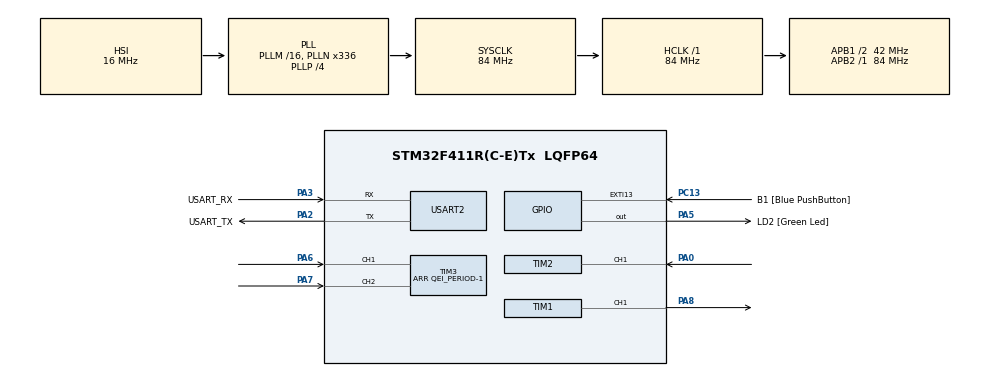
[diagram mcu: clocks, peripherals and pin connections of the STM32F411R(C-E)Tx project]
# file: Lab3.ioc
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Dma.Request0=TIM2_CH1
Dma.TIM2_CH1.0.Direction=DMA_PERIPH_TO_MEMORY
Dma.TIM2_CH1.0.FIFOMode=DMA_FIFOMODE_DISABLE
Dma.TIM2_CH1.0.Instance=DMA1_Stream5
Dma.TIM2_CH1.0.MemDataAlignment=DMA_MDATAALIGN_WORD
Dma.TIM2_CH1.0.MemInc=DMA_MINC_ENABLE
Dma.TIM2_CH1.0.Mode=DMA_CIRCULAR
Dma.TIM2_CH1.0.PeriphDataAlignment=DMA_PDATAALIGN_WORD
Dma.TIM2_CH1.0.PeriphInc=DMA_PINC_DISABLE
Dma.TIM2_CH1.0.Priority=DMA_PRIORITY_LOW
Mcu.Family=STM32F4
Mcu.Name=STM32F411R(C-E)Tx
Mcu.Package=LQFP64
Mcu.UserConstants=QEI_PERIOD,64512
NVIC.DMA1_Stream5_IRQn=true\:0\:0\:false\:false\:true\:false\:true\:true
NVIC.PriorityGroup=NVIC_PRIORITYGROUP_0
NVIC.TIM5_IRQn=true\:0\:0\:false\:false\:true\:true\:true\:true
PA0-WKUP.Signal=S_TIM2_CH1_ETR
PA13.GPIO_Label=TMS
PA13.Mode=Serial_Wire
PA13.Signal=SYS_JTMS-SWDIO
PA14.GPIO_Label=TCK
PA14.Mode=Serial_Wire
PA14.Signal=SYS_JTCK-SWCLK
PA2.GPIO_Label=USART_TX
PA2.Mode=Asynchronous
PA2.Signal=USART2_TX
PA3.GPIO_Label=USART_RX
PA3.Mode=Asynchronous
PA3.Signal=USART2_RX
PA5.GPIO_Label=LD2 [Green Led]
PA5.Signal=GPIO_Output
PA6.Signal=S_TIM3_CH1
PA7.Signal=S_TIM3_CH2
PA8.Signal=S_TIM1_CH1
PB3.GPIO_Label=SWO
PB3.Signal=SYS_JTDO-SWO
PC13-ANTI_TAMP.GPIO_Label=B1 [Blue PushButton]
PC13-ANTI_TAMP.GPIO_ModeDefaultEXTI=GPIO_MODE_IT_FALLING
PC13-ANTI_TAMP.Signal=GPXTI13
PC14-OSC32_IN.Mode=LSE-External-Oscillator
PC14-OSC32_IN.Signal=RCC_OSC32_IN
PC15-OSC32_OUT.Mode=LSE-External-Oscillator
PC15-OSC32_OUT.Signal=RCC_OSC32_OUT
PH0\ -\ OSC_IN.Mode=HSE-External-Clock-Source
PH0\ -\ OSC_IN.Signal=RCC_OSC_IN
PH1\ -\ OSC_OUT.Mode=HSE-External-Clock-Source
PH1\ -\ OSC_OUT.Signal=RCC_OSC_OUT
ProjectManager.HeapSize=0x200
ProjectManager.StackSize=0x400
ProjectManager.TargetToolchain=STM32CubeIDE
RCC.48MHZClocksFreq_Value=84000000
RCC.AHBFreq_Value=84000000
RCC.APB1CLKDivider=RCC_HCLK_DIV2
RCC.APB1Freq_Value=42000000
RCC.APB1TimFreq_Value=84000000
RCC.APB2Freq_Value=84000000
RCC.APB2TimFreq_Value=84000000
RCC.CortexFreq_Value=84000000
RCC.FLatency-AdvancedSettings=FLASH_LATENCY_2
RCC.HCLKFreq_Value=84000000
RCC.HSE_VALUE=8000000
RCC.HSI_VALUE=16000000
RCC.PLLN=336
RCC.PLLP=RCC_PLLP_DIV4
RCC.SYSCLKFreq_VALUE=84000000
RCC.SYSCLKSource=RCC_SYSCLKSOURCE_PLLCLK
RCC.VCOOutputFreq_Value=336000000
SH.S_TIM1_CH1.0=TIM1_CH1,PWM Generation1 CH1
SH.S_TIM2_CH1_ETR.0=TIM2_CH1,Input_Capture1_from_TI1
SH.S_TIM3_CH1.0=TIM3_CH1,Encoder_Interface
SH.S_TIM3_CH2.0=TIM3_CH2,Encoder_Interface
TIM1.Channel-PWM\ Generation1\ CH1=TIM_CHANNEL_1
TIM1.Period=2500
TIM1.Prescaler=83
TIM1.Pulse-PWM\ Generation1\ CH1=500
TIM2.Channel-Input_Capture1_from_TI1=TIM_CHANNEL_1
TIM2.Prescaler=83
TIM3.EncoderMode=TIM_ENCODERMODE_TI12
TIM3.Period=QEI_PERIOD-1
TIM5.Prescaler=83
USART2.VirtualMode=VM_ASYNC
VP_TIM1_VS_ClockSourceINT.Mode=Internal
VP_TIM2_VS_ClockSourceINT.Mode=Internal
VP_TIM5_VS_ClockSourceINT.Mode=Internal
board=NUCLEO-F411RE

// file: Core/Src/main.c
/* USER CODE BEGIN Header */
/**
  ******************************************************************************
  * @file           : main.c
  * @brief          : Main program body
  ******************************************************************************
  * @attention
  *
  * Copyright (c) 2023 STMicroelectronics.
  * All rights reserved.
  *
  * This software is licensed under terms that can be found in the LICENSE file
  * in the root directory of this software component.
  * If no LICENSE file comes with this software, it is provided AS-IS.
  *
  ******************************************************************************
  */
/* USER CODE END Header */
#include "main.h"

/* USER CODE BEGIN Includes */
#define IC_BUFFER_SIZE 20
/* USER CODE END Includes */

TIM_HandleTypeDef htim1;
TIM_HandleTypeDef htim2;
TIM_HandleTypeDef htim3;
TIM_HandleTypeDef htim5;
DMA_HandleTypeDef hdma_tim2_ch1;

UART_HandleTypeDef huart2;

/* USER CODE BEGIN PV */
uint32_t InputCaptureBuffer[IC_BUFFER_SIZE];
float averageRisingedgePeriod;
uint32_t MotorSetDuty = 100;
uint32_t duty = 0;
uint32_t MotorReadRPM;
/* USER CODE END PV */

void SystemClock_Config(void);
static void MX_GPIO_Init(void);
static void MX_DMA_Init(void);
static void MX_USART2_UART_Init(void);
static void MX_TIM2_Init(void);
static void MX_TIM1_Init(void);
static void MX_TIM3_Init(void);
static void MX_TIM5_Init(void);
/* USER CODE BEGIN PFP */
float IC_Calc_Period();
/* USER CODE END PFP */

int main(void)
{

  /* MCU Configuration--------------------------------------------------------*/

  /* Reset of all peripherals, Initializes the Flash interface and the Systick. */
  HAL_Init();

  /* Configure the system clock */
  SystemClock_Config();

  /* Initialize all configured peripherals */
  MX_GPIO_Init();
  MX_DMA_Init();
  MX_USART2_UART_Init();
  MX_TIM2_Init();
  MX_TIM1_Init();
  MX_TIM3_Init();
  MX_TIM5_Init();
  /* USER CODE BEGIN 2 */

  HAL_TIM_Base_Start(&htim2);
  HAL_TIM_IC_Start_DMA(&htim2, TIM_CHANNEL_1, InputCaptureBuffer, IC_BUFFER_SIZE);

  HAL_TIM_Base_Start(&htim1);
  HAL_TIM_PWM_Start(&htim1, TIM_CHANNEL_1);
  /* USER CODE END 2 */

  /* Infinite loop */
  while (1)
  {

    /* USER CODE BEGIN 3 */
	  static uint32_t timestamp = 0;
	  if (HAL_GetTick() >= timestamp)
	  {
		  timestamp = HAL_GetTick() + 500;
		  averageRisingedgePeriod = IC_Calc_Period();

		  duty = MotorSetDuty*25;
		  __HAL_TIM_SET_COMPARE(&htim1,TIM_CHANNEL_1,duty);

	  }
  }
  /* USER CODE END 3 */
}

void SystemClock_Config(void)
{
  RCC_OscInitTypeDef RCC_OscInitStruct = {0};
  RCC_ClkInitTypeDef RCC_ClkInitStruct = {0};

  /** Configure the main internal regulator output voltage
  */
  __HAL_RCC_PWR_CLK_ENABLE();
  __HAL_PWR_VOLTAGESCALING_CONFIG(PWR_REGULATOR_VOLTAGE_SCALE1);

  /** Initializes the RCC Oscillators according to the specified parameters
  * in the RCC_OscInitTypeDef structure.
  */
  RCC_OscInitStruct.OscillatorType = RCC_OSCILLATORTYPE_HSI;
  RCC_OscInitStruct.HSIState = RCC_HSI_ON;
  RCC_OscInitStruct.HSICalibrationValue = RCC_HSICALIBRATION_DEFAULT;
  RCC_OscInitStruct.PLL.PLLState = RCC_PLL_ON;
  RCC_OscInitStruct.PLL.PLLSource = RCC_PLLSOURCE_HSI;
  RCC_OscInitStruct.PLL.PLLM = 16;
  RCC_OscInitStruct.PLL.PLLN = 336;
  RCC_OscInitStruct.PLL.PLLP = RCC_PLLP_DIV4;
  RCC_OscInitStruct.PLL.PLLQ = 4;
  if (HAL_RCC_OscConfig(&RCC_OscInitStruct) != HAL_OK)
  {
    Error_Handler();
  }

  /** Initializes the CPU, AHB and APB buses clocks
  */
  RCC_ClkInitStruct.ClockType = RCC_CLOCKTYPE_HCLK|RCC_CLOCKTYPE_SYSCLK
                              |RCC_CLOCKTYPE_PCLK1|RCC_CLOCKTYPE_PCLK2;
  RCC_ClkInitStruct.SYSCLKSource = RCC_SYSCLKSOURCE_PLLCLK;
  RCC_ClkInitStruct.AHBCLKDivider = RCC_SYSCLK_DIV1;
  RCC_ClkInitStruct.APB1CLKDivider = RCC_HCLK_DIV2;
  RCC_ClkInitStruct.APB2CLKDivider = RCC_HCLK_DIV1;

  if (HAL_RCC_ClockConfig(&RCC_ClkInitStruct, FLASH_LATENCY_2) != HAL_OK)
  {
    Error_Handler();
  }
}

static void MX_TIM1_Init(void)
{

  TIM_ClockConfigTypeDef sClockSourceConfig = {0};
  TIM_MasterConfigTypeDef sMasterConfig = {0};
  TIM_OC_InitTypeDef sConfigOC = {0};
  TIM_BreakDeadTimeConfigTypeDef sBreakDeadTimeConfig = {0};

  htim1.Instance = TIM1;
  htim1.Init.Prescaler = 83;
  htim1.Init.CounterMode = TIM_COUNTERMODE_UP;
  htim1.Init.Period = 2500;
  htim1.Init.ClockDivision = TIM_CLOCKDIVISION_DIV1;
  htim1.Init.RepetitionCounter = 0;
  htim1.Init.AutoReloadPreload = TIM_AUTORELOAD_PRELOAD_DISABLE;
  if (HAL_TIM_Base_Init(&htim1) != HAL_OK)
  {
    Error_Handler();
  }
  sClockSourceConfig.ClockSource = TIM_CLOCKSOURCE_INTERNAL;
  if (HAL_TIM_ConfigClockSource(&htim1, &sClockSourceConfig) != HAL_OK)
  {
    Error_Handler();
  }
  if (HAL_TIM_PWM_Init(&htim1) != HAL_OK)
  {
    Error_Handler();
  }
  sMasterConfig.MasterOutputTrigger = TIM_TRGO_RESET;
  sMasterConfig.MasterSlaveMode = TIM_MASTERSLAVEMODE_DISABLE;
  if (HAL_TIMEx_MasterConfigSynchronization(&htim1, &sMasterConfig) != HAL_OK)
  {
    Error_Handler();
  }
  sConfigOC.OCMode = TIM_OCMODE_PWM1;
  sConfigOC.Pulse = 500;
  sConfigOC.OCPolarity = TIM_OCPOLARITY_HIGH;
  sConfigOC.OCNPolarity = TIM_OCNPOLARITY_HIGH;
  sConfigOC.OCFastMode = TIM_OCFAST_DISABLE;
  sConfigOC.OCIdleState = TIM_OCIDLESTATE_RESET;
  sConfigOC.OCNIdleState = TIM_OCNIDLESTATE_RESET;
  if (HAL_TIM_PWM_ConfigChannel(&htim1, &sConfigOC, TIM_CHANNEL_1) != HAL_OK)
  {
    Error_Handler();
  }
  sBreakDeadTimeConfig.OffStateRunMode = TIM_OSSR_DISABLE;
  sBreakDeadTimeConfig.OffStateIDLEMode = TIM_OSSI_DISABLE;
  sBreakDeadTimeConfig.LockLevel = TIM_LOCKLEVEL_OFF;
  sBreakDeadTimeConfig.DeadTime = 0;
  sBreakDeadTimeConfig.BreakState = TIM_BREAK_DISABLE;
  sBreakDeadTimeConfig.BreakPolarity = TIM_BREAKPOLARITY_HIGH;
  sBreakDeadTimeConfig.AutomaticOutput = TIM_AUTOMATICOUTPUT_DISABLE;
  if (HAL_TIMEx_ConfigBreakDeadTime(&htim1, &sBreakDeadTimeConfig) != HAL_OK)
  {
    Error_Handler();
  }
  HAL_TIM_MspPostInit(&htim1);

}

static void MX_TIM2_Init(void)
{

  TIM_ClockConfigTypeDef sClockSourceConfig = {0};
  TIM_MasterConfigTypeDef sMasterConfig = {0};
  TIM_IC_InitTypeDef sConfigIC = {0};

  htim2.Instance = TIM2;
  htim2.Init.Prescaler = 83;
  htim2.Init.CounterMode = TIM_COUNTERMODE_UP;
  htim2.Init.Period = 4294967295;
  htim2.Init.ClockDivision = TIM_CLOCKDIVISION_DIV1;
  htim2.Init.AutoReloadPreload = TIM_AUTORELOAD_PRELOAD_DISABLE;
  if (HAL_TIM_Base_Init(&htim2) != HAL_OK)
  {
    Error_Handler();
  }
  sClockSourceConfig.ClockSource = TIM_CLOCKSOURCE_INTERNAL;
  if (HAL_TIM_ConfigClockSource(&htim2, &sClockSourceConfig) != HAL_OK)
  {
    Error_Handler();
  }
  if (HAL_TIM_IC_Init(&htim2) != HAL_OK)
  {
    Error_Handler();
  }
  sMasterConfig.MasterOutputTrigger = TIM_TRGO_RESET;
  sMasterConfig.MasterSlaveMode = TIM_MASTERSLAVEMODE_DISABLE;
  if (HAL_TIMEx_MasterConfigSynchronization(&htim2, &sMasterConfig) != HAL_OK)
  {
    Error_Handler();
  }
  sConfigIC.ICPolarity = TIM_INPUTCHANNELPOLARITY_RISING;
  sConfigIC.ICSelection = TIM_ICSELECTION_DIRECTTI;
  sConfigIC.ICPrescaler = TIM_ICPSC_DIV1;
  sConfigIC.ICFilter = 0;
  if (HAL_TIM_IC_ConfigChannel(&htim2, &sConfigIC, TIM_CHANNEL_1) != HAL_OK)
  {
    Error_Handler();
  }

}

static void MX_TIM3_Init(void)
{

  TIM_Encoder_InitTypeDef sConfig = {0};
  TIM_MasterConfigTypeDef sMasterConfig = {0};

  htim3.Instance = TIM3;
  htim3.Init.Prescaler = 0;
  htim3.Init.CounterMode = TIM_COUNTERMODE_UP;
  htim3.Init.Period = QEI_PERIOD-1;
  htim3.Init.ClockDivision = TIM_CLOCKDIVISION_DIV1;
  htim3.Init.AutoReloadPreload = TIM_AUTORELOAD_PRELOAD_DISABLE;
  sConfig.EncoderMode = TIM_ENCODERMODE_TI12;
  sConfig.IC1Polarity = TIM_ICPOLARITY_RISING;
  sConfig.IC1Selection = TIM_ICSELECTION_DIRECTTI;
  sConfig.IC1Prescaler = TIM_ICPSC_DIV1;
  sConfig.IC1Filter = 0;
  sConfig.IC2Polarity = TIM_ICPOLARITY_RISING;
  sConfig.IC2Selection = TIM_ICSELECTION_DIRECTTI;
  sConfig.IC2Prescaler = TIM_ICPSC_DIV1;
  sConfig.IC2Filter = 0;
  if (HAL_TIM_Encoder_Init(&htim3, &sConfig) != HAL_OK)
  {
    Error_Handler();
  }
  sMasterConfig.MasterOutputTrigger = TIM_TRGO_RESET;
  sMasterConfig.MasterSlaveMode = TIM_MASTERSLAVEMODE_DISABLE;
  if (HAL_TIMEx_MasterConfigSynchronization(&htim3, &sMasterConfig) != HAL_OK)
  {
    Error_Handler();
  }

}

static void MX_TIM5_Init(void)
{

  TIM_ClockConfigTypeDef sClockSourceConfig = {0};
  TIM_MasterConfigTypeDef sMasterConfig = {0};

  htim5.Instance = TIM5;
  htim5.Init.Prescaler = 83;
  htim5.Init.CounterMode = TIM_COUNTERMODE_UP;
  htim5.Init.Period = 4294967295;
  htim5.Init.ClockDivision = TIM_CLOCKDIVISION_DIV1;
  htim5.Init.AutoReloadPreload = TIM_AUTORELOAD_PRELOAD_DISABLE;
  if (HAL_TIM_Base_Init(&htim5) != HAL_OK)
  {
    Error_Handler();
  }
  sClockSourceConfig.ClockSource = TIM_CLOCKSOURCE_INTERNAL;
  if (HAL_TIM_ConfigClockSource(&htim5, &sClockSourceConfig) != HAL_OK)
  {
    Error_Handler();
  }
  sMasterConfig.MasterOutputTrigger = TIM_TRGO_RESET;
  sMasterConfig.MasterSlaveMode = TIM_MASTERSLAVEMODE_DISABLE;
  if (HAL_TIMEx_MasterConfigSynchronization(&htim5, &sMasterConfig) != HAL_OK)
  {
    Error_Handler();
  }

}

static void MX_USART2_UART_Init(void)
{

  huart2.Instance = USART2;
  huart2.Init.BaudRate = 115200;
  huart2.Init.WordLength = UART_WORDLENGTH_8B;
  huart2.Init.StopBits = UART_STOPBITS_1;
  huart2.Init.Parity = UART_PARITY_NONE;
  huart2.Init.Mode = UART_MODE_TX_RX;
  huart2.Init.HwFlowCtl = UART_HWCONTROL_NONE;
  huart2.Init.OverSampling = UART_OVERSAMPLING_16;
  if (HAL_UART_Init(&huart2) != HAL_OK)
  {
    Error_Handler();
  }

}

static void MX_DMA_Init(void)
{

  /* DMA controller clock enable */
  __HAL_RCC_DMA1_CLK_ENABLE();

  /* DMA interrupt init */
  /* DMA1_Stream5_IRQn interrupt configuration */
  HAL_NVIC_SetPriority(DMA1_Stream5_IRQn, 0, 0);
  HAL_NVIC_EnableIRQ(DMA1_Stream5_IRQn);

}

static void MX_GPIO_Init(void)
{
  GPIO_InitTypeDef GPIO_InitStruct = {0};

  /* GPIO Ports Clock Enable */
  __HAL_RCC_GPIOC_CLK_ENABLE();
  __HAL_RCC_GPIOH_CLK_ENABLE();
  __HAL_RCC_GPIOA_CLK_ENABLE();
  __HAL_RCC_GPIOB_CLK_ENABLE();

  /*Configure GPIO pin Output Level */
  HAL_GPIO_WritePin(LD2_GPIO_Port, LD2_Pin, GPIO_PIN_RESET);

  /*Configure GPIO pin : B1_Pin */
  GPIO_InitStruct.Pin = B1_Pin;
  GPIO_InitStruct.Mode = GPIO_MODE_IT_FALLING;
  GPIO_InitStruct.Pull = GPIO_NOPULL;
  HAL_GPIO_Init(B1_GPIO_Port, &GPIO_InitStruct);

  /*Configure GPIO pin : LD2_Pin */
  GPIO_InitStruct.Pin = LD2_Pin;
  GPIO_InitStruct.Mode = GPIO_MODE_OUTPUT_PP;
  GPIO_InitStruct.Pull = GPIO_NOPULL;
  GPIO_InitStruct.Speed = GPIO_SPEED_FREQ_LOW;
  HAL_GPIO_Init(LD2_GPIO_Port, &GPIO_InitStruct);

}

/* USER CODE BEGIN 4 */
float IC_Calc_Period()
{
	uint32_t currentDMAPointer = IC_BUFFER_SIZE -__HAL_DMA_GET_COUNTER((htim2.hdma[1]));

	uint32_t lastValidDMAPointer = (currentDMAPointer-1 + IC_BUFFER_SIZE) % IC_BUFFER_SIZE;

	uint32_t i = (lastValidDMAPointer + IC_BUFFER_SIZE - 6) % IC_BUFFER_SIZE;

	int32_t sumdiff = 0;
	while (i != lastValidDMAPointer)
	{
		uint32_t firstCapture = InputCaptureBuffer[i];

		uint32_t NextCapture = InputCaptureBuffer[(i+1)%IC_BUFFER_SIZE];
		sumdiff += NextCapture - firstCapture;
		i = (i+1) % IC_BUFFER_SIZE;
	}
	return sumdiff/5.0;
}
/* USER CODE END 4 */

void Error_Handler(void)
{
  __disable_irq();
  while (1)
  {
  }
}
